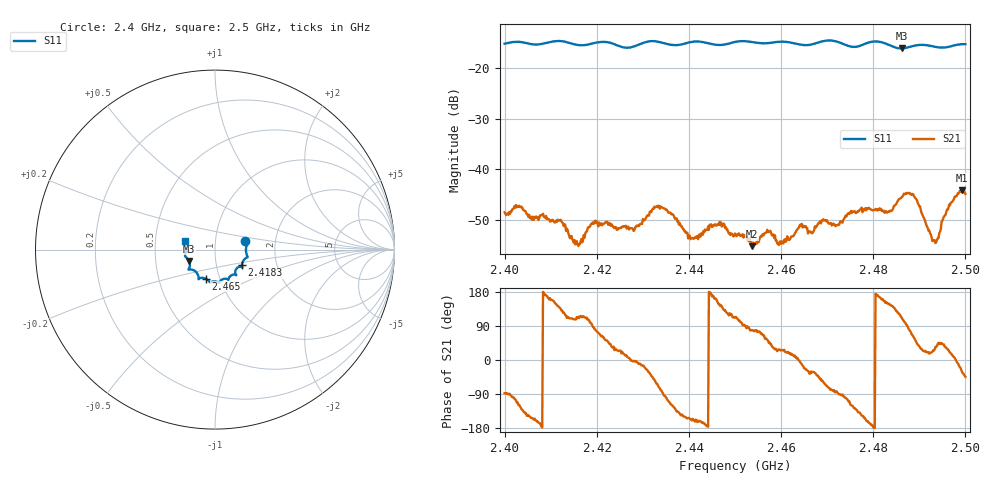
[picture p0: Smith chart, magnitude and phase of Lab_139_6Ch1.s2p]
# Hz S RI R 50
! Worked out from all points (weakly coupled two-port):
!   601 points, 2.4 GHz to 2.5 GHz, reference 50 ohm
!   highest |S21| = -44.20 dB at 2.4993 GHz (marker M1); lowest = -55.3 dB at 2.4537 GHz (marker M2)
!   lowest |S11| = -16.1 dB at 2.4862 GHz (marker M3), VSWR 1.37, Z = 37.1 - j4.8 ohm
!   |S11| at or under -10 dB: start of sweep to end of sweep
!   S12 and S22 are empty: the file has one direction only
!   S11 on the Smith chart (normalised r, x): 2.4 GHz: 1.40, +0.13; 2.4183 GHz: 1.33, -0.24; 2.465 GHz: 0.86, -0.29; 2.5 GHz: 0.71, +0.07
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2.4e9  0.1693 0.046  0.000157 -0.00374  0 0  0 0
2.412e9  0.182 -0.0414  -0.00228 0.00208  0 0  0 0
2.416667e9  0.1547 -0.0681  -0.000815 0.00187  0 0  0 0
2.418333e9  0.1498 -0.087  -0.000679 0.00258  0 0  0 0
2.428e9  0.1133 -0.1191  0.00244 -9.46e-05  0 0  0 0
2.433333e9  0.1174 -0.1408  0.00156 -0.00406  0 0  0 0
2.440333e9  0.0758 -0.1654  -0.00186 -0.000802  0 0  0 0
2.4465e9  0.0485 -0.1633  -0.00235 0.00154  0 0  0 0
2.45e9  0.0252 -0.1808  -0.000903 0.00213  0 0  0 0
2.453667e9  0.0165 -0.1816  0.000337 0.00169  0 0  0 0
2.457333e9  -0.0125 -0.1778  0.0017 0.00169  0 0  0 0
2.46e9  -0.0275 -0.1819  0.00165 0.000774  0 0  0 0
2.465e9  -0.0524 -0.1618  0.00248 -0.00099  0 0  0 0
2.466667e9  -0.0715 -0.1573  0.00195 -0.00125  0 0  0 0
2.4755e9  -0.1053 -0.1248  -0.00195 -0.0033  0 0  0 0
2.483333e9  -0.1415 -0.0964  -0.00327 0.00196  0 0  0 0
2.486167e9  -0.1441 -0.063  -0.00201 0.0049  0 0  0 0
2.489e9  -0.1628 -0.0409  0.00301 0.00433  0 0  0 0
2.493333e9  -0.163 -0.0169  0.00174 0.000937  0 0  0 0
2.4965e9  -0.1624 0.0225  0.00413 0.00172  0 0  0 0
2.499333e9  -0.1679 0.0438  0.00514 -0.0034  0 0  0 0
2.5e9  -0.1672 0.0468  0.00407 -0.00397  0 0  0 0
